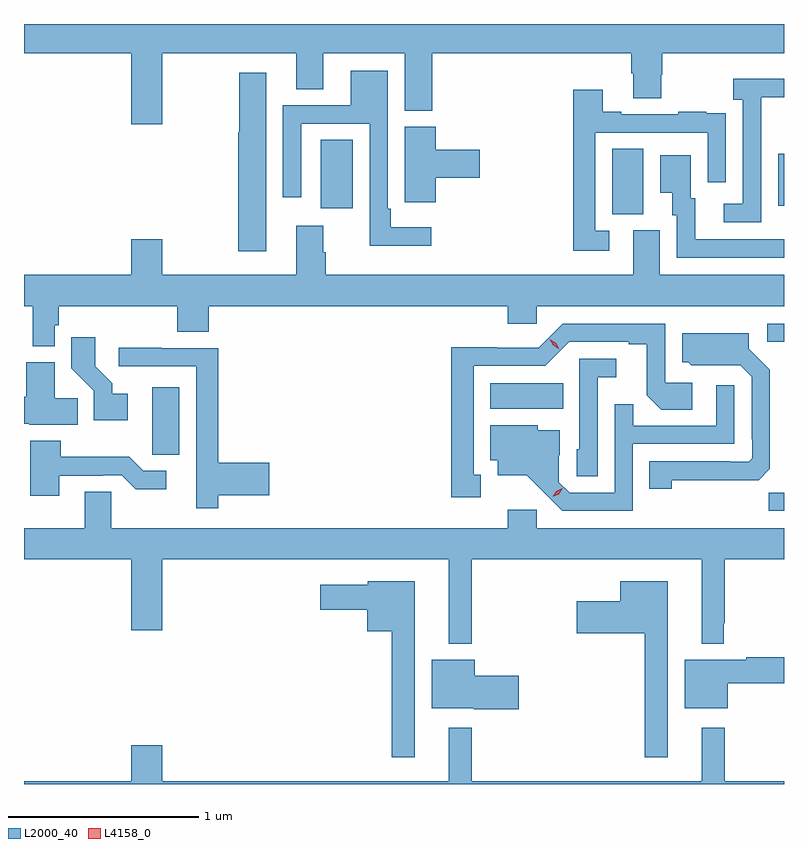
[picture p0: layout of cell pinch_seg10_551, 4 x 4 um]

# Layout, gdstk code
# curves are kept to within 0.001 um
import gdstk
lib = gdstk.Library(unit=1e-6, precision=1e-09)
def R(c, l, rs):  # rectangles x0, y0, x1, y1
    for r in rs: c.add(gdstk.rectangle(r[:2], r[2:], *l))
def P(c, l, *ps):  # polygons
    for p in ps: c.add(gdstk.Polygon(p, *l))
L2000_40 = (2000, 40)
L4158_0 = (4158, 0)

pinch_seg10_551 = lib.new_cell('pinch_seg10_551')
R(pinch_seg10_551, L2000_40, [(372.16,1273.932,372.24,1274.027), (370.694,1274.468,371.078,1274.602), (372.153,1274.82,372.24,1274.916), (371.336,1275.493,371.5,1275.836), (369.803,1275.522,369.97,1275.884), (372.209,1275.537,372.24,1275.811)])
P(pinch_seg10_551, L2000_40, [(368.968,1276.34),(369.674,1276.34),(369.674,1276.15),(369.814,1276.15),(369.814,1276.34),(370.244,1276.34),(370.244,1276.036),(370.388,1276.036),(370.388,1276.34),(371.435,1276.34),(371.435,1276.234),(371.447,1276.234),(371.447,1276.102),(371.595,1276.102),(371.595,1276.227),(371.6,1276.227),(371.6,1276.34),(372.24,1276.34),(372.24,1276.493),(368.24,1276.493),(368.24,1276.34),(368.804,1276.34),(368.804,1275.966),(368.968,1275.966)],
  [(370.384,1275.424),(370.171,1275.424),(370.171,1275.52),(370.155,1275.52),(370.155,1276.246),(369.959,1276.246),(369.959,1276.065),(369.603,1276.065),(369.603,1275.582),(369.699,1275.582),(369.699,1275.969),(370.059,1275.969),(370.059,1275.326),(370.384,1275.326)],
  [(369.514,1276.237),(369.373,1276.237),(369.373,1275.924),(369.368,1275.924),(369.368,1275.297),(369.514,1275.297)],
  [(372.12,1275.907),(372.121,1275.907),(372.121,1276.107),(372.24,1276.107),(372.24,1276.204),(371.973,1276.204),(371.973,1276.094),(372.024,1276.094),(372.024,1275.546),(371.922,1275.546),(371.922,1275.45),(372.12,1275.45)],
  [(371.32,1275.405),(371.247,1275.405),(371.247,1275.921),(371.838,1275.921),(371.838,1275.66),(371.934,1275.66),(371.934,1275.914),(371.933,1275.914),(371.933,1276.023),(371.831,1276.023),(371.831,1276.03),(371.683,1276.03),(371.683,1276.017),(371.383,1276.017),(371.383,1276.03),(371.287,1276.03),(371.287,1276.147),(371.131,1276.147),(371.131,1275.3),(371.32,1275.3)],
  [(370.406,1275.683),(370.639,1275.683),(370.639,1275.83),(370.406,1275.83),(370.406,1275.951),(370.244,1275.951),(370.244,1275.667),(370.245,1275.667),(370.245,1275.555),(370.406,1275.555)],
  [(372.24,1275.36),(371.773,1275.36),(371.773,1275.576),(371.749,1275.576),(371.749,1275.802),(371.588,1275.802),(371.588,1275.605),(371.651,1275.605),(371.651,1275.486),(371.676,1275.486),(371.676,1275.264),(372.24,1275.264)],
  [(369.047,1274.872),(369.212,1274.872),(369.212,1275.008),(370.787,1275.008),(370.787,1274.915),(370.938,1274.915),(370.938,1275.008),(372.24,1275.008),(372.24,1275.172),(371.587,1275.172),(371.587,1275.408),(371.447,1275.408),(371.447,1275.172),(369.827,1275.172),(369.827,1275.293),(369.814,1275.293),(369.814,1275.43),(369.674,1275.43),(369.674,1275.172),(368.968,1275.172),(368.968,1275.361),(368.804,1275.361),(368.804,1275.172),(368.24,1275.172),(368.24,1275.008),(368.287,1275.008),(368.287,1274.798),(368.403,1274.798),(368.403,1274.907),(368.423,1274.907),(368.423,1275.008),(369.047,1275.008)],
  [(370.645,1274.121),(370.606,1274.121),(370.606,1274.694),(370.983,1274.694),(371.109,1274.82),(371.423,1274.82),(371.423,1274.808),(371.517,1274.808),(371.517,1274.54),(371.593,1274.464),(371.758,1274.464),(371.758,1274.604),(371.616,1274.604),(371.616,1274.916),(371.076,1274.916),(370.95,1274.79),(370.728,1274.79),(370.728,1274.792),(370.488,1274.792),(370.488,1274.001),(370.645,1274.001)],
  [(371.649,1274.092),(372.106,1274.093),(372.165,1274.152),(372.165,1274.674),(372.055,1274.784),(372.055,1274.866),(371.705,1274.866),(371.705,1274.712),(371.736,1274.712),(371.752,1274.696),(372.009,1274.697),(372.069,1274.637),(372.069,1274.308),(372.072,1274.308),(372.072,1274.208),(372.054,1274.19),(371.954,1274.19),(371.954,1274.193),(371.53,1274.193),(371.53,1274.046),(371.649,1274.046)],
  [(368.785,1274.548),(368.704,1274.548),(368.704,1274.603),(368.614,1274.693),(368.614,1274.845),(368.488,1274.845),(368.488,1274.682),(368.607,1274.563),(368.607,1274.408),(368.785,1274.408)],
  [(369.263,1274.012),(369.532,1274.012),(369.532,1274.183),(369.263,1274.183),(369.263,1274.787),(368.963,1274.787),(368.963,1274.79),(368.739,1274.79),(368.739,1274.691),(369.147,1274.691),(369.147,1274.166),(369.146,1274.166),(369.146,1273.944),(369.263,1273.944)],
  [(371.259,1274.633),(371.356,1274.633),(371.356,1274.73),(371.163,1274.73),(371.163,1274.256),(371.148,1274.256),(371.148,1274.113),(371.259,1274.113)],
  [(368.522,1274.522),(368.401,1274.522),(368.401,1274.713),(368.252,1274.713),(368.252,1274.532),(368.24,1274.532),(368.24,1274.39),(368.268,1274.39),(368.268,1274.384),(368.522,1274.384)],
  [(371.445,1274.283),(371.979,1274.283),(371.979,1274.593),(371.883,1274.593),(371.883,1274.379),(371.447,1274.379),(371.447,1274.492),(371.349,1274.492),(371.349,1274.025),(371.112,1274.025),(371.055,1274.082),(371.055,1274.224),(371.059,1274.224),(371.059,1274.356),(370.944,1274.356),(370.944,1274.38),(370.694,1274.38),(370.694,1274.198),(370.733,1274.198),(370.733,1274.117),(370.885,1274.117),(371.072,1273.932),(371.445,1273.932)],
  [(369.058,1274.581),(368.915,1274.581),(368.915,1274.338),(368.916,1274.338),(368.916,1274.227),(369.058,1274.227)],
  [(368.425,1274.115),(368.654,1274.115),(368.654,1274.118),(368.754,1274.118),(368.827,1274.045),(368.989,1274.045),(368.989,1274.142),(368.868,1274.142),(368.795,1274.215),(368.433,1274.215),(368.433,1274.299),(368.273,1274.299),(368.273,1274.01),(368.425,1274.01)],
  [(370.597,1273.676),(371.807,1273.676),(371.807,1273.232),(371.922,1273.232),(371.922,1273.339),(371.929,1273.339),(371.929,1273.676),(372.24,1273.676),(372.24,1273.84),(370.938,1273.84),(370.938,1273.936),(370.787,1273.936),(370.787,1273.84),(368.7,1273.84),(368.7,1274.03),(368.561,1274.03),(368.561,1273.84),(368.24,1273.84),(368.24,1273.676),(368.804,1273.676),(368.804,1273.302),(368.968,1273.302),(368.968,1273.676),(370.475,1273.676),(370.475,1273.232),(370.597,1273.232)],
  [(370.297,1273.561),(370.05,1273.561),(370.05,1273.543),(369.798,1273.543),(369.798,1273.409),(370.046,1273.409),(370.046,1273.298),(370.176,1273.298),(370.176,1272.633),(370.297,1272.633)],
  [(371.629,1273.561),(371.378,1273.561),(371.378,1273.456),(371.148,1273.456),(371.148,1273.286),(371.508,1273.286),(371.508,1272.633),(371.629,1272.633)],
  [(371.944,1273.024),(372.24,1273.024),(372.24,1273.16),(372.04,1273.16),(372.04,1273.147),(371.717,1273.147),(371.717,1272.893),(371.944,1272.893)],
  [(370.843,1273.064),(370.612,1273.064),(370.612,1273.147),(370.385,1273.147),(370.385,1272.893),(370.608,1272.893),(370.608,1272.886),(370.843,1272.886)],
  [(372.24,1272.508),(371.929,1272.508),(371.929,1272.79),(371.807,1272.79),(371.807,1272.508),(370.597,1272.508),(370.597,1272.79),(370.475,1272.79),(370.475,1272.508),(368.968,1272.508),(368.968,1272.697),(368.804,1272.697),(368.804,1272.508),(368.24,1272.508),(368.24,1272.493),(372.24,1272.493)])
P(pinch_seg10_551, L4158_0, [(371.023,1274.004),(371.023,1274.005),(371.041,1274.034),(371.072,1274.049),(371.072,1274.049),(371.072,1274.048),(371.054,1274.019),(371.023,1274.004)],
  [(371.057,1274.782),(371.026,1274.801),(371.008,1274.833),(371.008,1274.833),(371.008,1274.833),(371.04,1274.814),(371.057,1274.782),(371.057,1274.782)])

lib.write_gds('pinch_seg10_551.gds')
